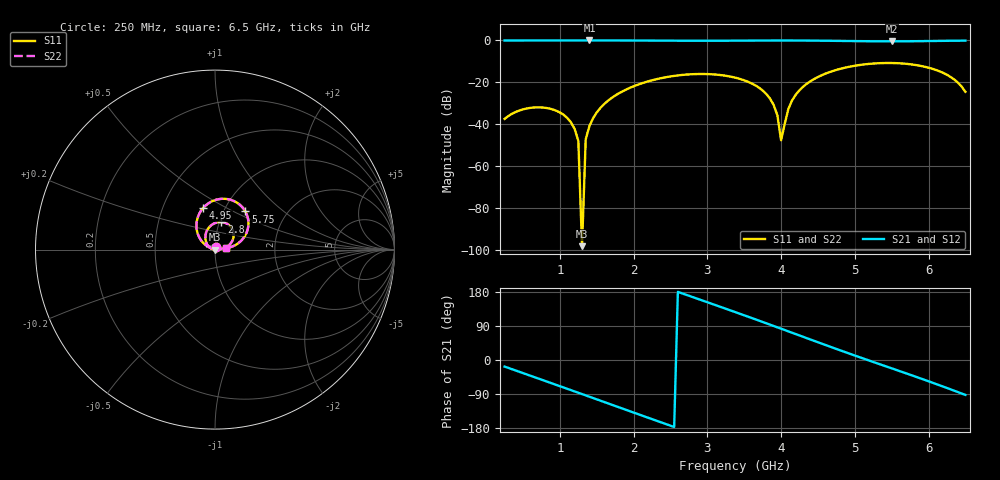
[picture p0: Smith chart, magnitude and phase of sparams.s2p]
! NobuRF kit-ro50-r2-line12: ports 1 "p1", 2 "p2"; 5900 + 5900 steps
# GHz S RI R 50
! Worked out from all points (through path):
!   126 points, 250 MHz to 6.5 GHz, reference 50 ohm
!   highest |S21| = 0.00 dB at 1.4 GHz (marker M1); lowest = -0.4 dB at 5.5 GHz (marker M2)
!   group delay of S21, straight-line fit = 193 ps
!   lowest |S11| = -98.0 dB at 1.3 GHz (marker M3), VSWR 1.00, Z = 50 + j0.000328 ohm
!   |S11| at or under -10 dB: start of sweep to end of sweep
!   |S22| runs from -97.9 to -10.7 dB; largest |S21 - S12| = 1e-07
!   S11 on the Smith chart (normalised r, x): 250 MHz: 1.01, +0.03; 2.8 GHz: 1.02, +0.32; 4.95 GHz: 0.79, +0.39; 5.75 GHz: 1.26, +0.58; 6.5 GHz: 1.13, +0.02
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0.25  0.00391 0.013  0.9529 -0.2984  0.9529 -0.2984  0.00391 0.013
0.7  0.0195 0.0166  0.6633 -0.7469  0.6633 -0.7469  0.0195 0.0166
1.1  0.014 0.00302  0.2409 -0.9703  0.2409 -0.9703  0.014 0.00302
1.25  0.00407 0.000135  0.0617 -0.9982  0.0617 -0.9982  0.00407 0.000135
1.3  -1.22e-05 3.28e-06  0.0011 -1  0.0011 -1  -1.23e-05 3.23e-06
1.35  -0.00439 0.000386  -0.0595 -0.9984  -0.0595 -0.9984  -0.00439 0.000386
1.4  -0.00901 0.00133  -0.12 -0.993  -0.12 -0.993  -0.00901 0.00133
1.7  -0.0373 0.0204  -0.466 -0.8841  -0.466 -0.8841  -0.0373 0.0204
2.35  -0.0376 0.1183  -0.9478 -0.2902  -0.9478 -0.2902  -0.0376 0.1183
2.8  0.0355 0.1533  -0.9566 0.2368  -0.9566 0.2368  0.0355 0.1533
3.4  0.1037 0.0739  -0.5657 0.8117  -0.5657 0.8117  0.1037 0.0739
3.85  0.041 0.00465  -0.0571 0.9951  -0.0571 0.9951  0.041 0.00465
3.95  0.0164 0.00148  0.0666 0.9953  0.0666 0.9953  0.0164 0.00148
4  0.00357 0.00224  0.1284 0.9893  0.1284 0.9893  0.00357 0.00224
4.1  -0.0222 0.00864  0.2505 0.9655  0.2505 0.9655  -0.0222 0.00864
4.15  -0.0347 0.0143  0.3102 0.9476  0.3102 0.9476  -0.0347 0.0143
4.45  -0.0926 0.0785  0.6313 0.7634  0.6313 0.7634  -0.0926 0.0785
4.95  -0.0664 0.2316  0.9344 0.2553  0.9344 0.2553  -0.0664 0.2316
5.5  0.1064 0.2702  0.8848 -0.3573  0.8848 -0.3573  0.1064 0.2702
5.75  0.1693 0.2123  0.7462 -0.6018  0.7462 -0.6018  0.1693 0.2123
6.2  0.1568 0.0617  0.3299 -0.9215  0.3299 -0.9215  0.1568 0.0617
6.5  0.0594 0.00759  -0.0375 -0.9888  -0.0375 -0.9888  0.0594 0.00759
